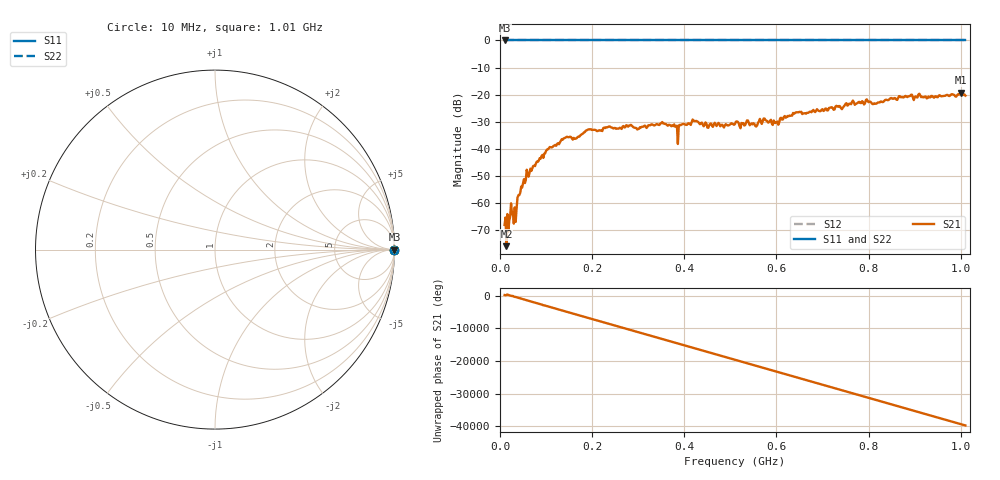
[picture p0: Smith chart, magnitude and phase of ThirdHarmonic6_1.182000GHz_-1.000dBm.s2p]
! 8/16/2025 12:04:57 PM
! C:\ANRITSUVNA\TEMP\TEMP.S2P
! CHANNEL.1
! TR.MEASUREMENT
! RAW.DATA
! RF.CORRECTION.OFF
! AVERAGING.OFF
! IF.BANDWIDTH: 5KHZ
! SWEEPTYPE:  FREQ.SWEEP(Linear)
! Reference Plane Port Info
! PORT:  PORT1  PORT2
! DISTANCE:  0  m  0  m
! TIME:  0  s  0  s
! PHASE.OFFSET:  0  deg.  0  deg.
! LOSS:  0  dB  0  dB
! REF.LOSS:  0  dB  0  dB
! REF.FREQ:  0  Hz  0  Hz
! Power Info
! POWER:  -20  dBm  -20  dBm
! EFF.POWER:  -20  dBm  -20  dBm
! SOURCE.ATTEN:  0  dB  0  dB
! TEST.ATTEN:  0  dB  0  dB
# GHZ S RI R 50.0
! FREQ.GHZ  S11RE  S11IM  S21RE  S21IM  S12RE  S12IM  S22RE  S22IM
!; PortSelection: Port_12
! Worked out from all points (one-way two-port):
!   501 points, 10 MHz to 1.01 GHz, reference 50 ohm
!   highest |S21| = -19.22 dB at 1 GHz (marker M1); lowest = -75.8 dB at 14 MHz (marker M2)
!   lowest |S11| = 0.0 dB at 10 MHz (marker M3)
!   |S11| at or under -10 dB: nowhere
!   |S22| runs from 0.0 to 0.0 dB; largest |S21 - S12| = 1.1
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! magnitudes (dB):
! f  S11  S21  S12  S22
! 10 MHz  0.0  -68.0  0.0  0.0
! 14 MHz  0.0  -75.8  0.0  0.0
! 18 MHz  0.0  -70.5  0.0  0.0
! 20 MHz  0.0  -66.5  0.0  0.0
! 24 MHz  0.0  -60.1  0.0  0.0
! 32 MHz  0.0  -61.5  0.0  0.0
! 42 MHz  0.0  -57.0  0.0  0.0
! 62 MHz  0.0  -50.2  0.0  0.0
! 106 MHz  0.0  -39.8  0.0  0.0
! 178 MHz  0.0  -34.5  0.0  0.0
! 234 MHz  0.0  -31.9  0.0  0.0
! 344 MHz  0.0  -31.1  0.0  0.0
! 384 MHz  0.0  -31.5  0.0  0.0
! 422 MHz  0.0  -29.7  0.0  0.0
! 452 MHz  0.0  -32.2  0.0  0.0
! 510 MHz  0.0  -30.8  0.0  0.0
! 602 MHz  0.0  -29.9  0.0  0.0
! 640 MHz  0.0  -26.8  0.0  0.0
! 678 MHz  0.0  -25.9  0.0  0.0
! 844 MHz  0.0  -21.9  0.0  0.0
! 1 GHz  0.0  -19.2  0.0  0.0
! 1.01 GHz  0.0  -20.3  0.0  0.0
